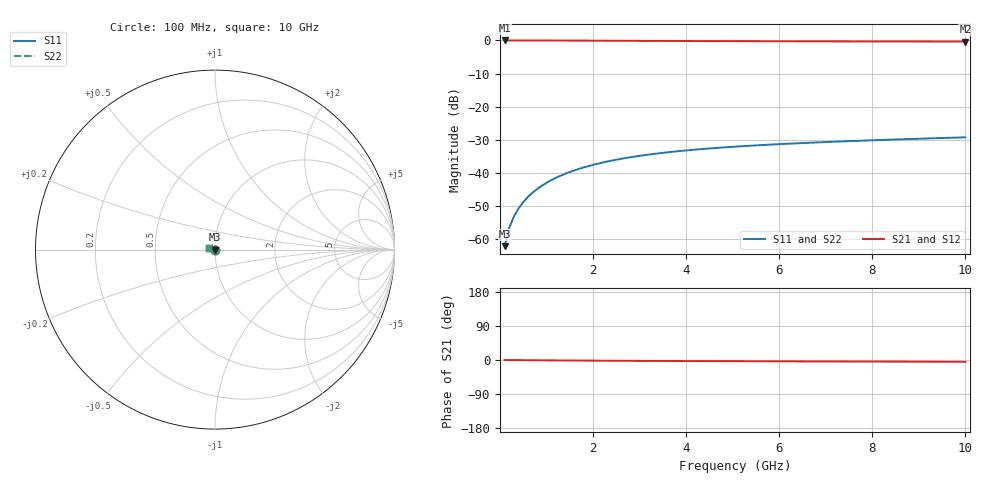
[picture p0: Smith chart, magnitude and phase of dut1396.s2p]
! Touchstone file exported from HFSS 2024.1.0
!  File:  C:/UserFiles/LocalFiles/RDL_TSV_Batchsim/temp_TSV1_1396_1780381843.aedt
!  Generated:  02:36:04 PM Jun  2, 2026
!  Design:  TSV1
!  Project:  temp_TSV1_1396_1780381843
!  Setup:  Setup1
!  Solution:  Sweep
! Variables:
!  dtsv = 6.46um
!  hbump = 3um
!  htsv = 72.9um
!  lrdl = 252.1521522um
!  p = 40
!  p1 = 40.85um
!  t = 500um
!  trdl = 3um
!  wrdl = 24.89489489um
# GHz S MA R 50.000000
! Terminal data exported
! Port[1] = TSV22_T1
! Port[2] = TSV22_T2
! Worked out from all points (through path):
!   100 points, 100 MHz to 10 GHz, reference 50 ohm
!   highest |S21| = 0.00 dB at 100 MHz (marker M1); lowest = -0.3 dB at 10 GHz (marker M2)
!   lowest |S11| = -62.1 dB at 100 MHz (marker M3), VSWR 1.00, Z = 50 - j0.072 ohm
!   |S11| at or under -10 dB: start of sweep to end of sweep
!   |S22| runs from -62.1 to -29.3 dB; largest |S21 - S12| = 4.2e-15
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0.1  0.000781 -67.2  0.9997 -0.1  0.9997 -0.1  0.000781 -67.2
! Gamma 0 0 0 0
! Port Impedance 50 0 50 0
0.2  0.001477 -80.6  0.9996 -0.2  0.9996 -0.2  0.001477 -80.6
0.3  0.002189 -86.5  0.9994 -0.3  0.9994 -0.3  0.002189 -86.5
0.4  0.002902 -90.4  0.9993 -0.4  0.9993 -0.4  0.002902 -90.4
0.5  0.003613 -93.4  0.9991 -0.5  0.9991 -0.5  0.003613 -93.4
0.6  0.004319 -96.0  0.9988 -0.6  0.9988 -0.6  0.004319 -96.0
0.7  0.005019 -98.3  0.9986 -0.6  0.9986 -0.6  0.005019 -98.3
0.8  0.005712 -100.5  0.9983 -0.7  0.9983 -0.7  0.005712 -100.5
0.9  0.006397 -102.5  0.9979 -0.8  0.9979 -0.8  0.006397 -102.5
1.1  0.00774 -106.4  0.9971 -1.0  0.9971 -1.0  0.00774 -106.4
1.4  0.009673 -111.7  0.9957 -1.2  0.9957 -1.2  0.009673 -111.7
1.6  0.0109 -115.1  0.9946 -1.4  0.9946 -1.4  0.0109 -115.1
1.8  0.01208 -118.4  0.9935 -1.5  0.9935 -1.5  0.01208 -118.4
2.1  0.01375 -123.0  0.9917 -1.8  0.9917 -1.8  0.01375 -123.0
2.5  0.0158 -128.8  0.9892 -2.0  0.9892 -2.0  0.0158 -128.8
2.9  0.01764 -134.3  0.9868 -2.2  0.9868 -2.2  0.01764 -134.3
3.4  0.01968 -140.5  0.9838 -2.5  0.9838 -2.5  0.01968 -140.5
4.2  0.02245 -149.5  0.9795 -2.8  0.9795 -2.8  0.02245 -149.5
5.1  0.025 -158.3  0.9754 -3.2  0.9754 -3.2  0.025 -158.3
6.7  0.0286 -171.2  0.9699 -3.7  0.9699 -3.7  0.0286 -171.2
8.4  0.03173 177.6  0.9659 -4.2  0.9659 -4.2  0.03173 177.6
10  0.0344 168.8  0.9632 -4.7  0.9632 -4.7  0.0344 168.8
